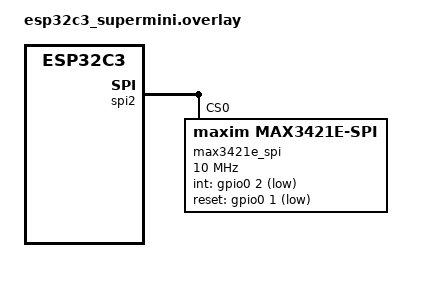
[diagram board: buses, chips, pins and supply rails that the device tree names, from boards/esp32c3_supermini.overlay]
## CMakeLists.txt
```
# SPDX-License-Identifier: Apache-2.0

cmake_minimum_required(VERSION 3.20.0)

find_package(Zephyr REQUIRED HINTS $ENV{ZEPHYR_BASE})
project(esp32c3_supermini_uvc)

target_sources(app PRIVATE src/main.c)
```

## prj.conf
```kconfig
# SPDX-License-Identifier: Apache-2.0

# Enable the experimental USB host stack.
CONFIG_USB_HOST_STACK=y

# Enable the USB host controller drivers (UHC).
CONFIG_UHC_DRIVER=y

# Enable minimal logging so we can trace host events.
CONFIG_LOG=y
CONFIG_LOG_DEFAULT_LEVEL=3
```

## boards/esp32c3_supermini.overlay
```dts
/*
 * SPDX-License-Identifier: Apache-2.0
 *
 * Basic board overlay for ESP32C3 Supermini + MAX3421E USB host.
 *
 * Update the GPIO numbers below to match actual wiring.
 */

&spi2 {
	status = "okay";
	/* Ensure pinctrl matches our wiring; default is spim2_default on this board. */

	max3421e_spi: max3421e_spi@0 {
		compatible = "maxim,max3421e-spi";
		reg = <0>;
		spi-max-frequency = <10000000>;

		/* Update these to the GPIO pins we wired to MAX3421E: */
		int-gpios = <&gpio0 2 GPIO_ACTIVE_LOW>;    /* GPX (interrupt) */
		reset-gpios = <&gpio0 1 GPIO_ACTIVE_LOW>;  /* RESET (optional) */
	};
};
```

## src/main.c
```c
/*
 * SPDX-License-Identifier: Apache-2.0
 */

#include <zephyr/kernel.h>
#include <zephyr/logging/log.h>

LOG_MODULE_REGISTER(uvc_app, LOG_LEVEL_INF);

void main(void)
{
    LOG_INF("esp32c3_supermini_uvc started");

    while (1) {
        k_msleep(1000);
    }
}
```
